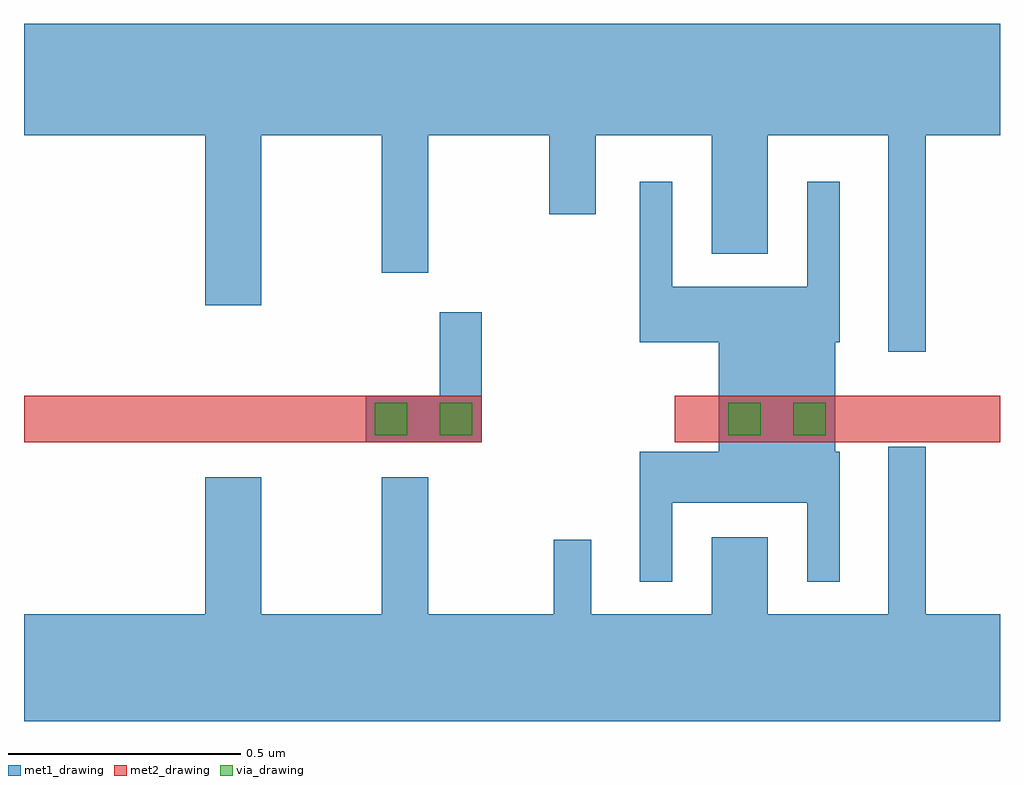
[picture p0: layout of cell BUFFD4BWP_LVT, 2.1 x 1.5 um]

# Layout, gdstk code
import gdstk
lib = gdstk.Library(unit=1e-6, precision=1e-09)
def R(c, l, rs):  # rectangles x0, y0, x1, y1
    for r in rs: c.add(gdstk.rectangle(r[:2], r[2:], *l))
def P(c, l, *ps):  # polygons
    for p in ps: c.add(gdstk.Polygon(p, *l))
met1_drawing = (31, 0)
met2_drawing = (32, 0)
via_drawing = (51, 0)

buffd4bwp_lvt = lib.new_cell('BUFFD4BWP_LVT')
R(buffd4bwp_lvt, met1_drawing, [(0.685,0.55,0.935,0.65), (0.845,0.56,0.935,0.83), (0.845,0.62,0.935,0.75)])
P(buffd4bwp_lvt, met1_drawing, [(1.81,0.745),(1.81,1.21),(1.55,1.21),(1.55,0.955),(1.43,0.955),(1.43,1.21),(1.18,1.21),(1.18,1.04),(1.08,1.04),(1.08,1.21),(0.82,1.21),(0.82,0.915),(0.72,0.915),(0.72,1.21),(0.68,1.21),(0.68,1.45),(2.05,1.45),(2.05,1.21),(1.89,1.21),(1.89,0.745)],
  [(0.68,-0.05),(0.68,0.18),(0.72,0.18),(0.72,0.475),(0.82,0.475),(0.82,0.18),(1.09,0.18),(1.09,0.34),(1.17,0.34),(1.17,0.18),(1.43,0.18),(1.43,0.345),(1.55,0.345),(1.55,0.18),(1.81,0.18),(1.81,0.54),(1.89,0.54),(1.89,0.18),(2.05,0.18),(2.05,-0.05)],
  [(1.275,0.25),(1.275,0.53),(1.445,0.53),(1.445,0.765),(1.275,0.765),(1.275,1.11),(1.345,1.11),(1.345,0.885),(1.635,0.885),(1.635,1.11),(1.705,1.11),(1.705,0.765),(1.695,0.765),(1.695,0.53),(1.705,0.53),(1.705,0.25),(1.635,0.25),(1.635,0.42),(1.345,0.42),(1.345,0.25)],
  [(0.34,0.845),(0.34,1.21),(-0.05,1.21),(-0.05,1.45),(0.68,1.45),(0.68,1.21),(0.46,1.21),(0.46,0.845)],
  [(-0.05,-0.05),(-0.05,0.18),(0.34,0.18),(0.34,0.475),(0.46,0.475),(0.46,0.18),(0.68,0.18),(0.68,-0.05)])
R(buffd4bwp_lvt, met2_drawing, [(-0.05,0.55,0.935,0.65), (1.35,0.55,2.05,0.65)])
R(buffd4bwp_lvt, via_drawing, [(0.705,0.565,0.775,0.635), (0.845,0.565,0.915,0.635), (1.465,0.565,1.535,0.635), (1.605,0.565,1.675,0.635)])

lib.write_gds('BUFFD4BWP_LVT.gds')
